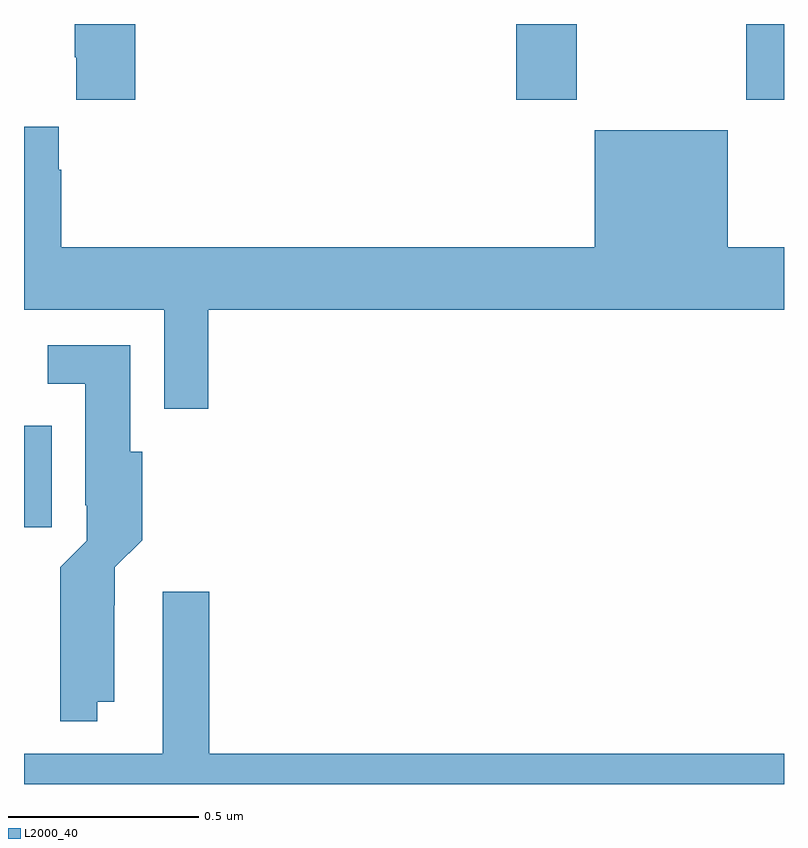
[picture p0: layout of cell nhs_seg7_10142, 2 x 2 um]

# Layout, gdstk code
import gdstk
lib = gdstk.Library(unit=1e-6, precision=1e-09)
def R(c, l, rs):  # rectangles x0, y0, x1, y1
    for r in rs: c.add(gdstk.rectangle(r[:2], r[2:], *l))
def P(c, l, *ps):  # polygons
    for p in ps: c.add(gdstk.Polygon(p, *l))
L2000_40 = (2000, 40)

nhs_seg7_10142 = lib.new_cell('nhs_seg7_10142')
R(nhs_seg7_10142, L2000_40, [(246,1034.676,246.073,1034.943), (247.295,1035.801,247.455,1036), (247.9,1035.801,248,1036)])
P(nhs_seg7_10142, L2000_40, [(246.293,1036),(246.133,1036),(246.133,1035.913),(246.137,1035.913),(246.137,1035.801),(246.293,1035.801)],
  [(246.485,1035.248),(248,1035.248),(248,1035.412),(247.852,1035.412),(247.852,1035.721),(247.502,1035.721),(247.502,1035.412),(246.098,1035.412),(246.098,1035.617),(246.091,1035.617),(246.091,1035.73),(246,1035.73),(246,1035.248),(246.369,1035.248),(246.369,1034.988),(246.485,1034.988)],
  [(246.193,1034.216),(246.238,1034.216),(246.238,1034.471),(246.239,1034.471),(246.239,1034.57),(246.311,1034.642),(246.311,1034.874),(246.28,1034.874),(246.28,1035.154),(246.063,1035.154),(246.063,1035.053),(246.161,1035.053),(246.161,1034.734),(246.165,1034.734),(246.165,1034.64),(246.095,1034.57),(246.095,1034.468),(246.096,1034.468),(246.096,1034.165),(246.193,1034.165)],
  [(248,1034.08),(246.488,1034.08),(246.488,1034.506),(246.365,1034.506),(246.365,1034.08),(246,1034.08),(246,1034),(248,1034)])

lib.write_gds('nhs_seg7_10142.gds')
